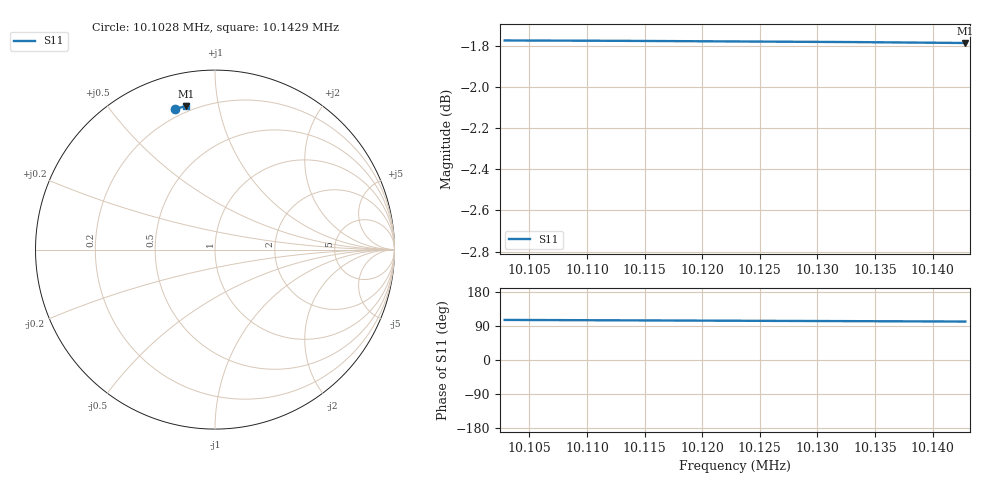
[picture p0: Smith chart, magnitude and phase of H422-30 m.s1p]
# HZ S RI R 50
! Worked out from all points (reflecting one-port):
!   5 points, 10.1028 MHz to 10.1429 MHz, reference 50 ohm
!   lowest |S11| = -1.8 dB at 10.1429 MHz (marker M1), VSWR 9.76, Z = 8.49 + j40.2 ohm
!   phase of S11 starts at 106 deg and turns -4 deg over the sweep
1.010284e7  -0.2213 0.7847
1.011284e7  -0.2066 0.7885
1.012285e7  -0.1917 0.792
1.013285e7  -0.1768 0.7952
1.014286e7  -0.1617 0.7979
